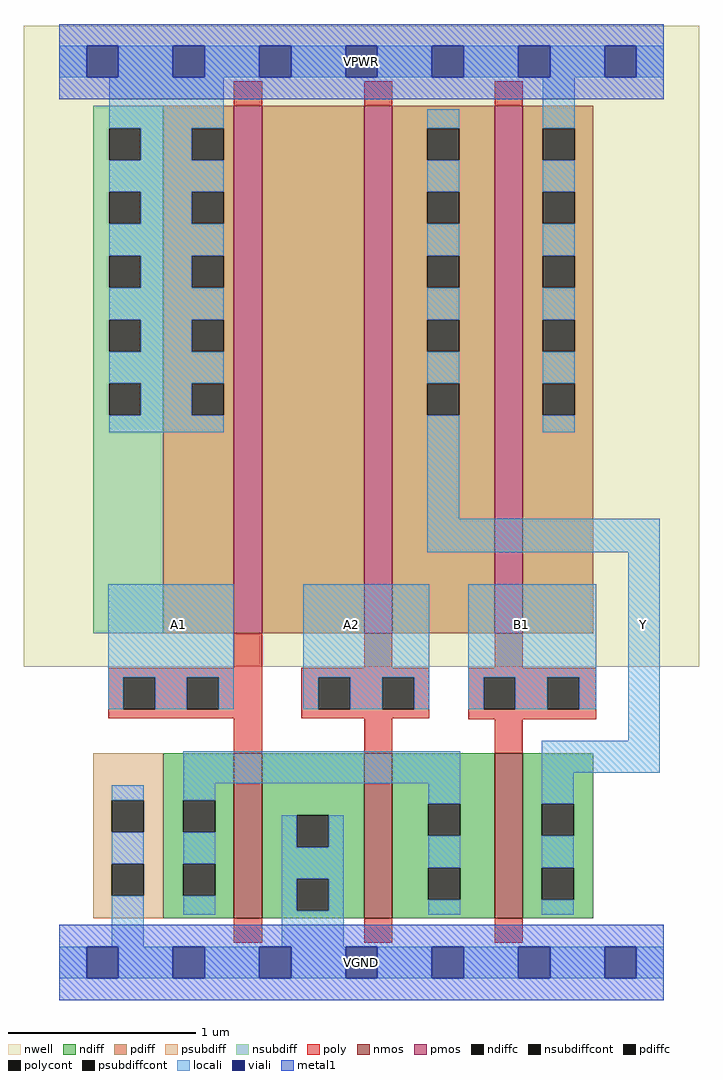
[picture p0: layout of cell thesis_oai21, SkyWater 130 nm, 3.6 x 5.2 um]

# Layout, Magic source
magic
tech sky130A
magscale 1 2
<< nwell >>
rect -38 315 682 998
<< nmos >>
rect 186 47 216 223
rect 325 47 355 223
rect 464 47 494 223
<< pmos >>
rect 186 351 216 913
rect 325 351 355 913
rect 464 351 494 913
<< ndiff >>
rect 111 173 186 223
rect 111 139 132 173
rect 166 139 186 173
rect 111 105 186 139
rect 111 71 132 105
rect 166 71 186 105
rect 111 47 186 71
rect 216 157 325 223
rect 216 123 253 157
rect 287 123 325 157
rect 216 89 325 123
rect 216 55 253 89
rect 287 55 325 89
rect 216 47 325 55
rect 355 169 464 223
rect 355 135 393 169
rect 427 135 464 169
rect 355 101 464 135
rect 355 67 393 101
rect 427 67 464 101
rect 355 47 464 67
rect 494 169 569 223
rect 494 135 514 169
rect 548 135 569 169
rect 494 101 569 135
rect 494 67 514 101
rect 548 67 569 101
rect 494 47 569 67
<< pdiff >>
rect 111 889 186 913
rect 111 855 141 889
rect 175 855 186 889
rect 111 821 186 855
rect 111 787 141 821
rect 175 787 186 821
rect 111 753 186 787
rect 111 719 141 753
rect 175 719 186 753
rect 111 685 186 719
rect 111 651 141 685
rect 175 651 186 685
rect 111 617 186 651
rect 111 583 141 617
rect 175 583 186 617
rect 111 351 186 583
rect 216 351 325 913
rect 355 889 464 913
rect 355 855 392 889
rect 426 855 464 889
rect 355 821 464 855
rect 355 787 392 821
rect 426 787 464 821
rect 355 753 464 787
rect 355 719 392 753
rect 426 719 464 753
rect 355 685 464 719
rect 355 651 392 685
rect 426 651 464 685
rect 355 617 464 651
rect 355 583 392 617
rect 426 583 464 617
rect 355 351 464 583
rect 494 889 569 913
rect 494 855 515 889
rect 549 855 569 889
rect 494 821 569 855
rect 494 787 515 821
rect 549 787 569 821
rect 494 753 569 787
rect 494 719 515 753
rect 549 719 569 753
rect 494 685 569 719
rect 494 651 515 685
rect 549 651 569 685
rect 494 617 569 651
rect 494 583 515 617
rect 549 583 569 617
rect 494 351 569 583
<< ndiffc >>
rect 132 139 166 173
rect 132 71 166 105
rect 253 123 287 157
rect 253 55 287 89
rect 393 135 427 169
rect 393 67 427 101
rect 514 135 548 169
rect 514 67 548 101
<< pdiffc >>
rect 141 855 175 889
rect 141 787 175 821
rect 141 719 175 753
rect 141 651 175 685
rect 141 583 175 617
rect 392 855 426 889
rect 392 787 426 821
rect 392 719 426 753
rect 392 651 426 685
rect 392 583 426 617
rect 515 855 549 889
rect 515 787 549 821
rect 515 719 549 753
rect 515 651 549 685
rect 515 583 549 617
<< psubdiff >>
rect 36 173 111 223
rect 36 139 56 173
rect 90 139 111 173
rect 36 105 111 139
rect 36 71 56 105
rect 90 71 111 105
rect 36 47 111 71
<< nsubdiff >>
rect 36 889 111 913
rect 36 855 53 889
rect 87 855 111 889
rect 36 821 111 855
rect 36 787 53 821
rect 87 787 111 821
rect 36 753 111 787
rect 36 719 53 753
rect 87 719 111 753
rect 36 685 111 719
rect 36 651 53 685
rect 87 651 111 685
rect 36 617 111 651
rect 36 583 53 617
rect 87 583 111 617
rect 36 351 111 583
<< psubdiffcont >>
rect 56 139 90 173
rect 56 71 90 105
<< nsubdiffcont >>
rect 53 855 87 889
rect 53 787 87 821
rect 53 719 87 753
rect 53 651 87 685
rect 53 583 87 617
<< poly >>
rect 186 913 216 939
rect 325 913 355 939
rect 464 913 494 939
rect 186 314 216 351
rect 325 314 355 351
rect 464 314 494 351
rect 52 304 216 314
rect 52 270 68 304
rect 102 270 136 304
rect 170 270 216 304
rect 52 260 216 270
rect 258 304 394 314
rect 258 270 276 304
rect 310 270 344 304
rect 378 270 394 304
rect 258 260 394 270
rect 436 304 572 314
rect 436 270 452 304
rect 486 270 520 304
rect 554 270 572 304
rect 186 223 216 260
rect 325 223 355 260
rect 436 259 572 270
rect 464 223 494 259
rect 186 21 216 47
rect 325 21 355 47
rect 464 21 494 47
<< polycont >>
rect 68 270 102 304
rect 136 270 170 304
rect 276 270 310 304
rect 344 270 378 304
rect 452 270 486 304
rect 520 270 554 304
<< locali >>
rect 0 943 29 977
rect 63 943 121 977
rect 155 943 213 977
rect 247 943 305 977
rect 339 943 397 977
rect 431 943 489 977
rect 523 943 581 977
rect 615 943 644 977
rect 53 889 175 943
rect 87 855 141 889
rect 53 821 175 855
rect 87 787 141 821
rect 53 753 175 787
rect 87 719 141 753
rect 53 685 175 719
rect 87 651 141 685
rect 53 617 175 651
rect 87 583 141 617
rect 53 565 175 583
rect 392 889 426 909
rect 392 821 426 855
rect 392 753 426 787
rect 392 685 426 719
rect 392 617 426 651
rect 392 473 426 583
rect 515 889 549 943
rect 515 821 549 855
rect 515 753 549 787
rect 515 685 549 719
rect 515 617 549 651
rect 515 565 549 583
rect 392 437 640 473
rect 52 304 186 403
rect 52 270 68 304
rect 102 270 136 304
rect 170 270 186 304
rect 260 304 394 403
rect 260 270 276 304
rect 310 270 344 304
rect 378 270 394 304
rect 436 304 572 403
rect 436 270 452 304
rect 486 270 520 304
rect 554 270 572 304
rect 606 236 640 437
rect 132 191 427 225
rect 56 173 90 189
rect 56 105 90 139
rect 56 17 90 71
rect 132 173 166 191
rect 393 169 427 191
rect 132 105 166 139
rect 132 51 166 71
rect 237 123 253 157
rect 287 123 303 157
rect 237 89 303 123
rect 237 55 253 89
rect 287 55 303 89
rect 237 17 303 55
rect 393 101 427 135
rect 393 51 427 67
rect 514 202 640 236
rect 514 169 548 202
rect 514 101 548 135
rect 514 51 548 67
rect 0 -17 29 17
rect 63 -17 121 17
rect 155 -17 213 17
rect 247 -17 305 17
rect 339 -17 397 17
rect 431 -17 489 17
rect 523 -17 581 17
rect 615 -17 644 17
<< viali >>
rect 29 943 63 977
rect 121 943 155 977
rect 213 943 247 977
rect 305 943 339 977
rect 397 943 431 977
rect 489 943 523 977
rect 581 943 615 977
rect 29 -17 63 17
rect 121 -17 155 17
rect 213 -17 247 17
rect 305 -17 339 17
rect 397 -17 431 17
rect 489 -17 523 17
rect 581 -17 615 17
<< metal1 >>
rect 0 977 644 1000
rect 0 943 29 977
rect 63 943 121 977
rect 155 943 213 977
rect 247 943 305 977
rect 339 943 397 977
rect 431 943 489 977
rect 523 943 581 977
rect 615 943 644 977
rect 0 920 644 943
rect 0 17 644 40
rect 0 -17 29 17
rect 63 -17 121 17
rect 155 -17 213 17
rect 247 -17 305 17
rect 339 -17 397 17
rect 431 -17 489 17
rect 523 -17 581 17
rect 615 -17 644 17
rect 0 -40 644 -17
<< labels >>
flabel metal1 s 305 -17 339 17 0 FreeSans 240 0 0 0 VGND
port 5 nsew ground bidirectional
flabel locali s 110 343 144 377 0 FreeSans 240 0 0 0 A1
port 0 nsew signal input
flabel locali s 294 343 328 377 0 FreeSans 240 0 0 0 A2
port 1 nsew signal input
flabel locali s 476 343 510 377 0 FreeSans 240 0 0 0 B1
port 2 nsew signal input
flabel locali s 606 343 640 377 0 FreeSans 240 0 0 0 Y
port 3 nsew signal output
flabel metal1 s 305 943 339 977 0 FreeSans 240 0 0 0 VPWR
port 4 nsew power bidirectional
<< properties >>
string FIXED_BBOX 0 0 644 960
string LEFclass CORE
string LEForigin 0 0
<< end >>
